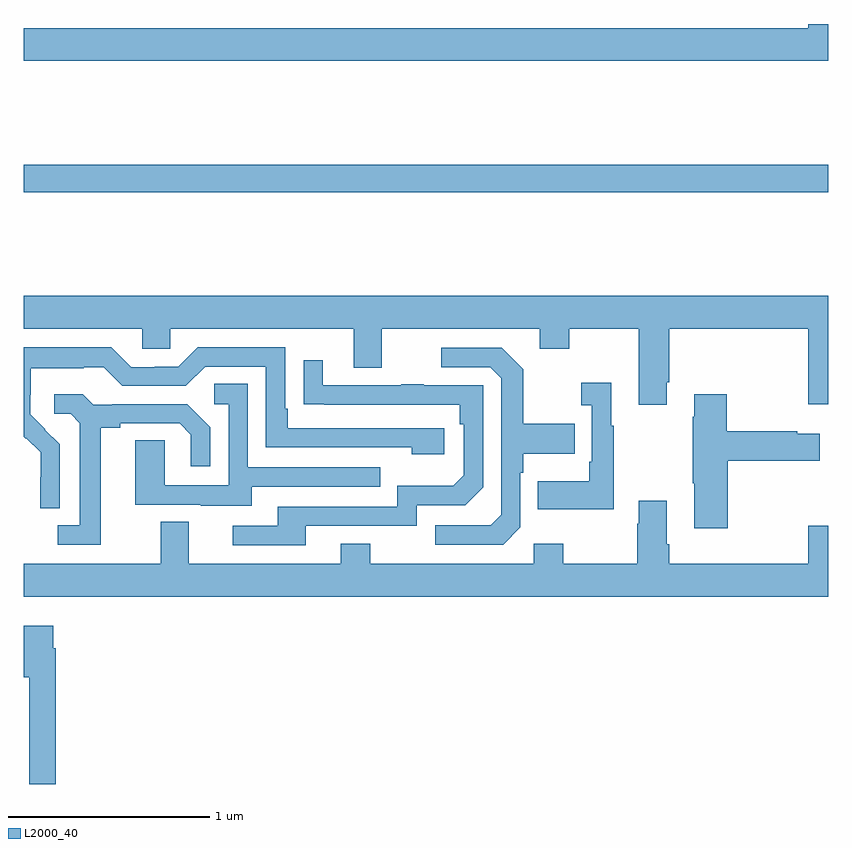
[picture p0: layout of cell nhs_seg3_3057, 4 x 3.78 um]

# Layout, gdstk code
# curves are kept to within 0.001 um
import gdstk
lib = gdstk.Library(unit=1e-6, precision=1e-09)
def R(c, l, rs):  # rectangles x0, y0, x1, y1
    for r in rs: c.add(gdstk.rectangle(r[:2], r[2:], *l))
def P(c, l, *ps):  # polygons
    for p in ps: c.add(gdstk.Polygon(p, *l))
L2000_40 = (2000, 40)

nhs_seg3_3057 = lib.new_cell('nhs_seg3_3057')
R(nhs_seg3_3057, L2000_40, [(269,733.564,273,733.7)])
P(nhs_seg3_3057, L2000_40, [(273,734.4),(272.9,734.4),(272.9,734.38),(269,734.38),(269,734.216),(273,734.216)],
  [(272.197,732.619),(272.21,732.619),(272.21,732.884),(272.9,732.884),(272.9,732.51),(273,732.51),(273,733.048),(269,733.048),(269,732.884),(269.589,732.884),(269.589,732.786),(269.727,732.786),(269.727,732.884),(270.641,732.884),(270.641,732.69),(270.781,732.69),(270.781,732.884),(271.565,732.884),(271.565,732.785),(271.713,732.785),(271.713,732.884),(272.057,732.884),(272.057,732.507),(272.197,732.507)],
  [(269.178,732.31),(269.032,732.458),(269.032,732.555),(269.034,732.555),(269.034,732.689),(269.297,732.689),(269.297,732.693),(269.397,732.693),(269.49,732.6),(269.805,732.6),(269.901,732.696),(270.204,732.696),(270.204,732.294),(270.929,732.294),(270.929,732.26),(271.09,732.26),(271.09,732.39),(270.313,732.39),(270.313,732.487),(270.3,732.487),(270.3,732.792),(269.865,732.792),(269.769,732.696),(269.651,732.696),(269.651,732.693),(269.535,732.693),(269.435,732.793),(269,732.793),(269,732.346),(269.01,732.336),(269.013,732.339),(269.084,732.269),(269.084,732.146),(269.082,732.146),(269.082,731.992),(269.178,731.992)],
  [(271.47,731.898),(271.47,732.167),(271.483,732.167),(271.483,732.263),(271.739,732.263),(271.739,732.411),(271.483,732.411),(271.483,732.683),(271.377,732.789),(271.077,732.789),(271.077,732.693),(271.32,732.693),(271.374,732.639),(271.374,731.958),(271.323,731.907),(271.047,731.907),(271.047,731.811),(271.383,731.811)],
  [(270.403,731.904),(270.954,731.904),(270.954,732.006),(271.194,732.006),(271.284,732.096),(271.284,732.603),(270.989,732.603),(270.989,732.608),(270.877,732.608),(270.877,732.603),(270.487,732.603),(270.487,732.727),(270.391,732.727),(270.391,732.508),(271.168,732.507),(271.168,732.41),(271.188,732.41),(271.188,732.156),(271.135,732.103),(270.858,732.103),(270.858,732),(270.263,732),(270.263,731.904),(270.039,731.904),(270.039,731.808),(270.403,731.808)],
  [(271.933,732.403),(271.921,732.403),(271.921,732.616),(271.773,732.616),(271.773,732.503),(271.824,732.503),(271.824,732.223),(271.812,732.223),(271.812,732.127),(271.555,732.127),(271.555,731.987),(271.933,731.987)],
  [(270.133,732.099),(270.773,732.099),(270.773,732.195),(270.114,732.195),(270.114,732.611),(269.946,732.611),(269.946,732.51),(270.018,732.51),(270.018,732.105),(269.7,732.105),(269.7,732.329),(269.555,732.329),(269.555,732.009),(269.879,732.009),(269.879,732.005),(270.133,732.005)],
  [(272.501,732.227),(272.959,732.227),(272.959,732.361),(272.846,732.361),(272.846,732.374),(272.496,732.374),(272.496,732.559),(272.333,732.559),(272.333,732.446),(272.326,732.446),(272.326,732.115),(272.333,732.115),(272.333,731.892),(272.501,731.892)],
  [(269.383,732.392),(269.479,732.392),(269.479,732.414),(269.774,732.414),(269.831,732.357),(269.831,732.201),(269.928,732.201),(269.928,732.394),(269.812,732.51),(269.44,732.51),(269.44,732.507),(269.346,732.507),(269.294,732.559),(269.151,732.559),(269.151,732.462),(269.232,732.462),(269.279,732.415),(269.279,731.907),(269.169,731.907),(269.169,731.811),(269.383,731.811)],
  [(273,731.905),(272.9,731.905),(272.9,731.716),(272.21,731.716),(272.21,731.812),(272.197,731.812),(272.197,732.028),(272.057,732.028),(272.057,731.915),(272.05,731.915),(272.05,731.716),(271.683,731.716),(271.683,731.815),(271.536,731.815),(271.536,731.716),(270.723,731.716),(270.723,731.815),(270.575,731.815),(270.575,731.716),(269.821,731.716),(269.821,731.924),(269.681,731.924),(269.681,731.716),(269,731.716),(269,731.552),(273,731.552)],
  [(269.159,731.294),(269.146,731.294),(269.146,731.407),(269,731.407),(269,731.151),(269.027,731.151),(269.027,730.62),(269.159,730.62)])

lib.write_gds('nhs_seg3_3057.gds')
